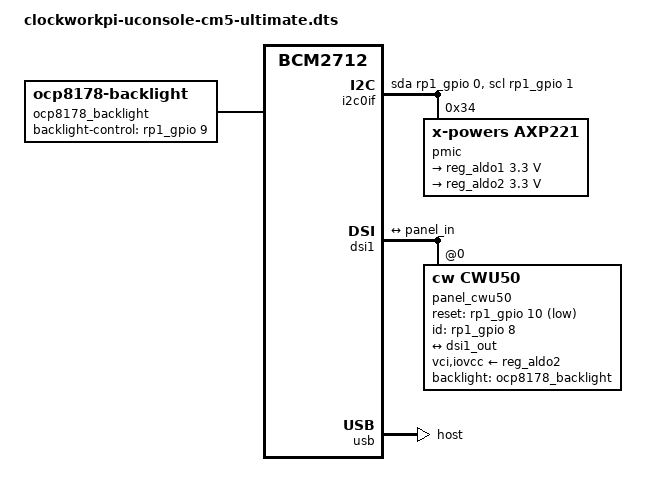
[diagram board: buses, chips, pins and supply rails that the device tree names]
/dts-v1/;
/plugin/;

#include <dt-bindings/gpio/gpio.h>

/ {
	compatible = "brcm,bcm2712";

	/* 1. Disable HDMI nodes by absolute paths to resolve any hidden resource conflicts */
	fragment@0 {
		target-path = "/soc@107c000000/hdmi@7ef00700";
		__overlay__ { status = "disabled"; };
	};
	fragment@1 {
		target-path = "/soc@107c000000/hdmi@7ef05700";
		__overlay__ { status = "disabled"; };
	};
	fragment@2 {
		target-path = "/soc@107c000000/vc4@7ef00000";
		__overlay__ { status = "disabled"; };
	};
	fragment@3 {
		target = <&spi10>;
		__overlay__ { status = "disabled"; };
	};

	/* 2. DSI Display and Panel */
	fragment@4 {
		target = <&dsi1>;
		__overlay__ {
			status = "okay";
			#address-cells = <1>;
			#size-cells = <0>;
			
			/* Bandwidth Fix: Force DSI clock to 100MHz/25MHz */
			assigned-clocks = <&rp1_clocks 22>, <&rp1_clocks 41>;
			assigned-clock-rates = <100000000>, <25000000>;

			port {
				dsi1_out: endpoint {
					remote-endpoint = <&panel_in>;
				};
			};

			panel_cwu50: panel@0 {
				compatible = "cw,cwu50";
				reg = <0>;
				reset-gpio = <&rp1_gpio 10 GPIO_ACTIVE_LOW>;
				id-gpio = <&rp1_gpio 8 GPIO_ACTIVE_HIGH>;
				pinctrl-names = "default";
				pinctrl-0 = <&panel_id_pins>;
				backlight = <&ocp8178_backlight>;
				/* orientation <3> is 90 degrees Right-Up */
				orientation = <3>;
				vci-supply = <&reg_aldo2>;
				iovcc-supply = <&reg_aldo2>;

				port {
					panel_in: endpoint {
						remote-endpoint = <&dsi1_out>;
					};
				};
			};
		};
	};

	/* 3. GPIO and Pinctrl */
	fragment@5 {
		target = <&rp1_gpio>;
		__overlay__ {
			panel_id_pins: panel_id_pins {
				function = "gpio";
				pins = "gpio8";
				bias-pull-down;
			};
		};
	};

	/* 4. PMIC and Backlight */
	fragment@6 {
		target-path = "/";
		__overlay__ {
			ocp8178_backlight: backlight@0 {
				compatible = "ocp8178-backlight";
				backlight-control-gpios = <&rp1_gpio 9 GPIO_ACTIVE_HIGH>;
				default-brightness = <5>;
				status = "okay";
			};

			i2c0if: i2c0if {
				compatible = "i2c-gpio";
				gpios = <&rp1_gpio 0 (GPIO_ACTIVE_HIGH | 6)>,
				        <&rp1_gpio 1 (GPIO_ACTIVE_HIGH | 6)>;
				i2c-gpio,delay-us = <20>;
				#address-cells = <1>;
				#size-cells = <0>;
				status = "okay";

				pmic@34 {
					compatible = "x-powers,axp221", "simple-mfd";
					reg = <0x34>;
					system-power-controller;

					regulators {
						reg_aldo1: aldo1 {
							regulator-name = "audio-vdd";
							regulator-min-microvolt = <3300000>;
							regulator-max-microvolt = <3300000>;
							regulator-always-on;
						};
						reg_aldo2: aldo2 {
							regulator-name = "display-vcc";
							regulator-min-microvolt = <3300000>;
							regulator-max-microvolt = <3300000>;
							regulator-always-on;
						};
					};
				};
			};
		};
	};

	/* 5. USB DWC2 Host Mode */
	fragment@7 {
		target = <&usb>;
		__overlay__ {
			status = "okay";
			dr_mode = "host";
		};
	};
};
